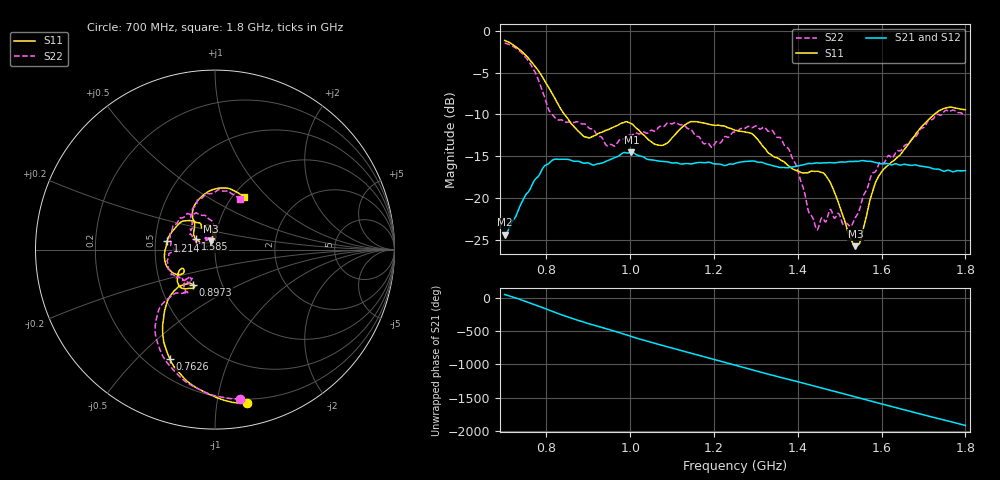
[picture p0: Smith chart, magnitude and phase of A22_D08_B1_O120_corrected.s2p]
! Created with skrf 1.9.0 (http://scikit-rf.org).
# Hz S RI R 50.0
!freq ReS11 ImS11 ReS21 ImS21 ReS12 ImS12 ReS22 ImS22
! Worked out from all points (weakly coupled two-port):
!   1601 points, 700 MHz to 1.8 GHz, reference 50 ohm
!   highest |S21| = -14.53 dB at 1.002 GHz (marker M1); lowest = -24.4 dB at 701.4 MHz (marker M2)
!   lowest |S11| = -25.8 dB at 1.537 GHz (marker M3), VSWR 1.11, Z = 47.4 + j4.32 ohm
!   |S11| at or under -10 dB: 842.7 MHz to 1.726 GHz (883.4 MHz wide, 68.8 % of centre)
!   |S22| runs from -23.8 to -1.5 dB; largest |S21 - S12| = 0.0036
!   S11 on the Smith chart (normalised r, x): 700 MHz: 0.17, -1.21; 762.6 MHz: 0.29, -0.63; 897.3 MHz: 0.73, -0.30; 1.214 GHz: 0.58, +0.06; 1.585 GHz: 0.80, +0.10; 1.8 GHz: 1.12, +0.75
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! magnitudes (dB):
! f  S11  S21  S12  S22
! 700 MHz  -1.2  -24.4  -24.2  -1.5
! 701.4 MHz  -1.2  -24.4  -24.0  -1.5
! 762.6 MHz  -3.6  -18.8  -18.7  -4.1
! 816.2 MHz  -7.7  -15.4  -15.5  -10.2
! 883.6 MHz  -12.4  -15.8  -15.7  -11.1
! 897.3 MHz  -12.8  -15.8  -15.9  -11.4
! 945.4 MHz  -11.9  -15.6  -15.6  -13.8
! 1.002 GHz  -11.1  -14.5  -14.6  -12.5
! 1.067 GHz  -13.7  -15.6  -15.5  -11.6
! 1.143 GHz  -10.9  -15.9  -15.9  -11.8
! 1.214 GHz  -11.3  -16.0  -16.0  -13.4
! 1.25 GHz  -11.9  -15.9  -15.8  -12.1
! 1.359 GHz  -15.4  -16.4  -16.3  -12.8
! 1.396 GHz  -16.7  -16.2  -16.2  -16.1
! 1.434 GHz  -16.8  -15.9  -15.9  -22.2
! 1.446 GHz  -16.8  -15.8  -15.8  -23.8
! 1.475 GHz  -17.9  -15.8  -15.8  -21.6
! 1.537 GHz  -25.8  -15.6  -15.6  -22.3
! 1.585 GHz  -18.1  -15.8  -15.8  -16.8
! 1.617 GHz  -16.0  -16.0  -15.9  -14.9
! 1.733 GHz  -9.7  -16.6  -16.6  -10.0
! 1.8 GHz  -9.5  -16.7  -16.7  -10.1
